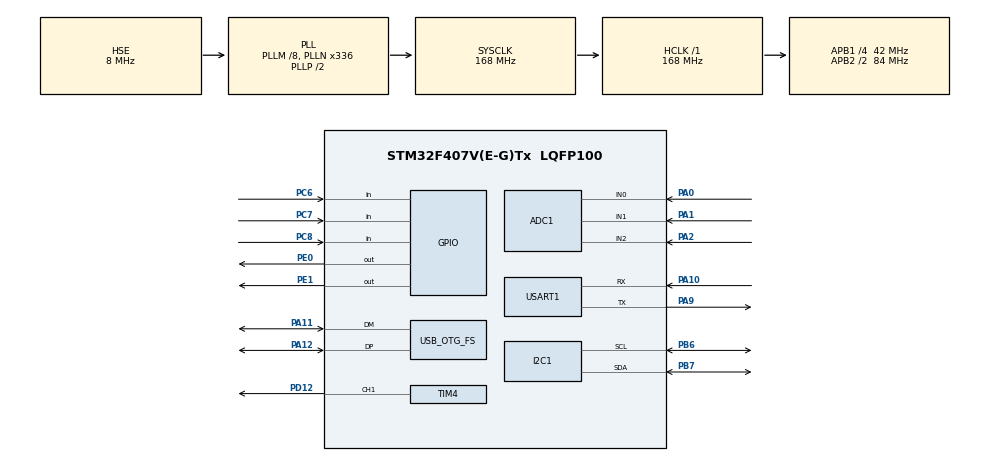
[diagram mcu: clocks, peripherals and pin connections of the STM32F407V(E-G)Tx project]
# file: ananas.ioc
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ADC1.Channel-0\#ChannelRegularConversion=ADC_CHANNEL_0
ADC1.Channel-1\#ChannelRegularConversion=ADC_CHANNEL_0
ADC1.Channel-2\#ChannelRegularConversion=ADC_CHANNEL_0
ADC1.ContinuousConvMode=ENABLE
ADC1.DMAContinuousRequests=ENABLE
ADC1.EOCSelection=ADC_EOC_SEQ_CONV
ADC1.NbrOfConversion=3
ADC1.NbrOfConversionFlag=1
ADC1.Rank-0\#ChannelRegularConversion=1
ADC1.Rank-1\#ChannelRegularConversion=2
ADC1.Rank-2\#ChannelRegularConversion=3
ADC1.SamplingTime-0\#ChannelRegularConversion=ADC_SAMPLETIME_3CYCLES
ADC1.SamplingTime-1\#ChannelRegularConversion=ADC_SAMPLETIME_3CYCLES
ADC1.SamplingTime-2\#ChannelRegularConversion=ADC_SAMPLETIME_3CYCLES
ADC1.ScanConvMode=ENABLE
ADC1.master=1
Dma.ADC1.0.Direction=DMA_PERIPH_TO_MEMORY
Dma.ADC1.0.FIFOMode=DMA_FIFOMODE_DISABLE
Dma.ADC1.0.Instance=DMA2_Stream0
Dma.ADC1.0.MemDataAlignment=DMA_MDATAALIGN_HALFWORD
Dma.ADC1.0.MemInc=DMA_MINC_ENABLE
Dma.ADC1.0.Mode=DMA_CIRCULAR
Dma.ADC1.0.PeriphDataAlignment=DMA_PDATAALIGN_HALFWORD
Dma.ADC1.0.PeriphInc=DMA_PINC_DISABLE
Dma.ADC1.0.Priority=DMA_PRIORITY_LOW
Dma.Request0=ADC1
Mcu.Family=STM32F4
Mcu.Name=STM32F407V(E-G)Tx
Mcu.Package=LQFP100
NVIC.DMA2_Stream0_IRQn=true\:0\:0\:false\:false\:true\:false\:true\:true
NVIC.I2C1_ER_IRQn=true\:0\:0\:false\:false\:true\:true\:true\:true
NVIC.I2C1_EV_IRQn=true\:0\:0\:false\:false\:true\:true\:true\:true
NVIC.PriorityGroup=NVIC_PRIORITYGROUP_4
NVIC.USART1_IRQn=true\:0\:0\:false\:false\:true\:true\:true\:true
PA0-WKUP.Signal=ADCx_IN0
PA1.Signal=ADCx_IN1
PA10.Mode=Asynchronous
PA10.Signal=USART1_RX
PA11.Mode=Device_Only
PA11.Signal=USB_OTG_FS_DM
PA12.Mode=Device_Only
PA12.Signal=USB_OTG_FS_DP
PA13.Mode=Serial_Wire
PA13.Signal=SYS_JTMS-SWDIO
PA14.Mode=Serial_Wire
PA14.Signal=SYS_JTCK-SWCLK
PA2.Signal=ADCx_IN2
PA9.Mode=Asynchronous
PA9.Signal=USART1_TX
PB3.Signal=SYS_JTDO-SWO
PB6.Mode=I2C
PB6.Signal=I2C1_SCL
PB7.Mode=I2C
PB7.Signal=I2C1_SDA
PC14-OSC32_IN.Mode=LSE-External-Oscillator
PC14-OSC32_IN.Signal=RCC_OSC32_IN
PC15-OSC32_OUT.Mode=LSE-External-Oscillator
PC15-OSC32_OUT.Signal=RCC_OSC32_OUT
PC6.Signal=GPIO_Input
PC7.Signal=GPIO_Input
PC8.Signal=GPIO_Input
PD12.Signal=S_TIM4_CH1
PE0.GPIO_Speed=GPIO_SPEED_FREQ_MEDIUM
PE0.Signal=GPIO_Output
PE1.GPIO_Speed=GPIO_SPEED_FREQ_MEDIUM
PE1.Signal=GPIO_Output
PH0-OSC_IN.Mode=HSE-External-Oscillator
PH0-OSC_IN.Signal=RCC_OSC_IN
PH1-OSC_OUT.Mode=HSE-External-Oscillator
PH1-OSC_OUT.Signal=RCC_OSC_OUT
ProjectManager.HeapSize=0x200
ProjectManager.StackSize=0x400
ProjectManager.TargetToolchain=Makefile
RCC.48MHZClocksFreq_Value=48000000
RCC.AHBFreq_Value=168000000
RCC.APB1CLKDivider=RCC_HCLK_DIV4
RCC.APB1Freq_Value=42000000
RCC.APB1TimFreq_Value=84000000
RCC.APB2CLKDivider=RCC_HCLK_DIV2
RCC.APB2Freq_Value=84000000
RCC.APB2TimFreq_Value=168000000
RCC.CortexFreq_Value=168000000
RCC.EnbaleCSS=true
RCC.HCLKFreq_Value=168000000
RCC.HSE_VALUE=8000000
RCC.HSI_VALUE=16000000
RCC.PLLM=8
RCC.PLLN=336
RCC.PLLQ=7
RCC.SYSCLKFreq_VALUE=168000000
RCC.SYSCLKSource=RCC_SYSCLKSOURCE_PLLCLK
RCC.VCOOutputFreq_Value=336000000
SH.ADCx_IN0.0=ADC1_IN0,IN0
SH.ADCx_IN1.0=ADC1_IN1,IN1
SH.ADCx_IN2.0=ADC1_IN2,IN2
SH.S_TIM4_CH1.0=TIM4_CH1,PWM Generation1 CH1
TIM4.AutoReloadPreload=TIM_AUTORELOAD_PRELOAD_ENABLE
TIM4.Channel-PWM\ Generation1\ CH1=TIM_CHANNEL_1
TIM4.Period=49
TIM4.Prescaler=83
USART1.VirtualMode=VM_ASYNC
USB_OTG_FS.VirtualMode=Device_Only
board=custom

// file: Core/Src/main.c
/* USER CODE BEGIN Header */
/**
  ******************************************************************************
  * @file           : main.c
  * @brief          : Main program body
  ******************************************************************************
  * @attention
  *
  * Copyright (c) 2025 STMicroelectronics.
  * All rights reserved.
  *
  ******************************************************************************
  */
/* USER CODE END Header */
#include "main.h"

/* USER CODE BEGIN Includes */
#include "motor_control.h"
#include "telemetry_uart.h"

/* USER CODE END Includes */

/* USER CODE BEGIN PD */
#define TELEMETRY_PERIOD_MS (50U) /* 20 Hz */

/* USER CODE END PD */

ADC_HandleTypeDef hadc1;
DMA_HandleTypeDef hdma_adc1;

I2C_HandleTypeDef hi2c1;

TIM_HandleTypeDef htim4;

UART_HandleTypeDef huart1;

PCD_HandleTypeDef hpcd_USB_OTG_FS;

/* USER CODE BEGIN PV */
static uint16_t adc_buf[3] = {0U, 0U, 0U};
static motor_control_t g_motor;
static motor_control_iface_t g_motor_iface;
static telemetry_uart_t g_telemetry;
static uint32_t g_last_telemetry_ms = 0U;

/* USER CODE END PV */

void SystemClock_Config(void);
static void MX_GPIO_Init(void);
static void MX_DMA_Init(void);
static void MX_ADC1_Init(void);
static void MX_I2C1_Init(void);
static void MX_USB_OTG_FS_PCD_Init(void);
static void MX_TIM4_Init(void);
static void MX_USART1_UART_Init(void);

int main(void)
{

  /* MCU Configuration--------------------------------------------------------*/

  /* Reset of all peripherals, Initializes the Flash interface and the Systick. */
  HAL_Init();

  /* Configure the system clock */
  SystemClock_Config();

  /* Initialize all configured peripherals */
  MX_GPIO_Init();
  MX_DMA_Init();
  MX_ADC1_Init();
  MX_I2C1_Init();
  MX_USB_OTG_FS_PCD_Init();
  MX_TIM4_Init();
  MX_USART1_UART_Init();
  /* USER CODE BEGIN 2 */
  motor_control_config_t motor_cfg = {
      .htim_pwm = &htim4,
      .tim_channel = TIM_CHANNEL_1,
      .in1_port = GPIOE,
      .in1_pin = GPIO_PIN_0,
      .in2_port = GPIOE,
      .in2_pin = GPIO_PIN_1,
      .ramp_step_pct = 5U,
      .ramp_interval_ms = 20U,
      .dir_change_delay_ms = 100U};

  if (motor_control_init(&g_motor, &motor_cfg) != HAL_OK)
  {
    Error_Handler();
  }
  g_motor_iface = motor_control_get_iface(&g_motor);

  if (telemetry_uart_init(&g_telemetry, &huart1, &g_motor_iface) != HAL_OK)
  {
    Error_Handler();
  }
  if (telemetry_uart_start(&g_telemetry) != HAL_OK)
  {
    Error_Handler();
  }

  if (HAL_ADC_Start_DMA(&hadc1, (uint32_t *)adc_buf, 3U) != HAL_OK)
  {
    Error_Handler();
  }

  g_last_telemetry_ms = HAL_GetTick();

  /* USER CODE END 2 */

  /* Infinite loop */
  while (1)
  {

    /* USER CODE BEGIN 3 */
    uint32_t now = HAL_GetTick();
    telemetry_inputs_t inputs;

    motor_control_tick(&g_motor, now);

    if ((uint32_t)(now - g_last_telemetry_ms) >= TELEMETRY_PERIOD_MS)
    {
      g_last_telemetry_ms = now;

      inputs.emg = adc_buf[0];
      inputs.fsr2 = adc_buf[1];
      inputs.fsr1 = adc_buf[2];
      inputs.hall1 = (uint8_t)HAL_GPIO_ReadPin(GPIOC, GPIO_PIN_6);
      inputs.hall2 = (uint8_t)HAL_GPIO_ReadPin(GPIOC, GPIO_PIN_7);
      inputs.hall3 = (uint8_t)HAL_GPIO_ReadPin(GPIOC, GPIO_PIN_8);

      telemetry_uart_set_inputs(&g_telemetry, &inputs);
      telemetry_uart_send_telemetry(&g_telemetry, now);
    }
  }
  /* USER CODE END 3 */
}

void SystemClock_Config(void)
{
  RCC_OscInitTypeDef RCC_OscInitStruct = {0};
  RCC_ClkInitTypeDef RCC_ClkInitStruct = {0};

  /** Configure the main internal regulator output voltage
  */
  __HAL_RCC_PWR_CLK_ENABLE();
  __HAL_PWR_VOLTAGESCALING_CONFIG(PWR_REGULATOR_VOLTAGE_SCALE1);

  /** Initializes the RCC Oscillators according to the specified parameters
  * in the RCC_OscInitTypeDef structure.
  */
  RCC_OscInitStruct.OscillatorType = RCC_OSCILLATORTYPE_HSE;
  RCC_OscInitStruct.HSEState = RCC_HSE_ON;
  RCC_OscInitStruct.PLL.PLLState = RCC_PLL_ON;
  RCC_OscInitStruct.PLL.PLLSource = RCC_PLLSOURCE_HSE;
  RCC_OscInitStruct.PLL.PLLM = 8;
  RCC_OscInitStruct.PLL.PLLN = 336;
  RCC_OscInitStruct.PLL.PLLP = RCC_PLLP_DIV2;
  RCC_OscInitStruct.PLL.PLLQ = 7;
  if (HAL_RCC_OscConfig(&RCC_OscInitStruct) != HAL_OK)
  {
    Error_Handler();
  }

  /** Initializes the CPU, AHB and APB buses clocks
  */
  RCC_ClkInitStruct.ClockType = RCC_CLOCKTYPE_HCLK|RCC_CLOCKTYPE_SYSCLK
                              |RCC_CLOCKTYPE_PCLK1|RCC_CLOCKTYPE_PCLK2;
  RCC_ClkInitStruct.SYSCLKSource = RCC_SYSCLKSOURCE_PLLCLK;
  RCC_ClkInitStruct.AHBCLKDivider = RCC_SYSCLK_DIV1;
  RCC_ClkInitStruct.APB1CLKDivider = RCC_HCLK_DIV4;
  RCC_ClkInitStruct.APB2CLKDivider = RCC_HCLK_DIV2;

  if (HAL_RCC_ClockConfig(&RCC_ClkInitStruct, FLASH_LATENCY_5) != HAL_OK)
  {
    Error_Handler();
  }

  /** Enables the Clock Security System
  */
  HAL_RCC_EnableCSS();
}

static void MX_ADC1_Init(void)
{

  ADC_ChannelConfTypeDef sConfig = {0};

  /** Configure the global features of the ADC (Clock, Resolution, Data Alignment and number of conversion)
  */
  hadc1.Instance = ADC1;
  hadc1.Init.ClockPrescaler = ADC_CLOCK_SYNC_PCLK_DIV4;
  hadc1.Init.Resolution = ADC_RESOLUTION_12B;
  hadc1.Init.ScanConvMode = ENABLE;
  hadc1.Init.ContinuousConvMode = ENABLE;
  hadc1.Init.DiscontinuousConvMode = DISABLE;
  hadc1.Init.ExternalTrigConvEdge = ADC_EXTERNALTRIGCONVEDGE_NONE;
  hadc1.Init.ExternalTrigConv = ADC_SOFTWARE_START;
  hadc1.Init.DataAlign = ADC_DATAALIGN_RIGHT;
  hadc1.Init.NbrOfConversion = 3;
  hadc1.Init.DMAContinuousRequests = ENABLE;
  hadc1.Init.EOCSelection = ADC_EOC_SEQ_CONV;
  if (HAL_ADC_Init(&hadc1) != HAL_OK)
  {
    Error_Handler();
  }

  /** Configure for the selected ADC regular channel its corresponding rank in the sequencer and its sample time.
  */
  sConfig.Channel = ADC_CHANNEL_0;
  sConfig.Rank = 1;
  sConfig.SamplingTime = ADC_SAMPLETIME_3CYCLES;
  if (HAL_ADC_ConfigChannel(&hadc1, &sConfig) != HAL_OK)
  {
    Error_Handler();
  }

  /** Configure for the selected ADC regular channel its corresponding rank in the sequencer and its sample time.
  */
  sConfig.Rank = 2;
  if (HAL_ADC_ConfigChannel(&hadc1, &sConfig) != HAL_OK)
  {
    Error_Handler();
  }

  /** Configure for the selected ADC regular channel its corresponding rank in the sequencer and its sample time.
  */
  sConfig.Rank = 3;
  if (HAL_ADC_ConfigChannel(&hadc1, &sConfig) != HAL_OK)
  {
    Error_Handler();
  }
  /* USER CODE BEGIN ADC1_Init 2 */

  /* Reconfigure sequence in USER CODE to keep CubeMX-safe fixes. */
  sConfig.Channel = ADC_CHANNEL_0;
  sConfig.Rank = 1;
  sConfig.SamplingTime = ADC_SAMPLETIME_84CYCLES;
  if (HAL_ADC_ConfigChannel(&hadc1, &sConfig) != HAL_OK)
  {
    Error_Handler();
  }

  sConfig.Channel = ADC_CHANNEL_1;
  sConfig.Rank = 2;
  if (HAL_ADC_ConfigChannel(&hadc1, &sConfig) != HAL_OK)
  {
    Error_Handler();
  }

  sConfig.Channel = ADC_CHANNEL_2;
  sConfig.Rank = 3;
  if (HAL_ADC_ConfigChannel(&hadc1, &sConfig) != HAL_OK)
  {
    Error_Handler();
  }

  /* USER CODE END ADC1_Init 2 */

}

static void MX_I2C1_Init(void)
{

  hi2c1.Instance = I2C1;
  hi2c1.Init.ClockSpeed = 100000;
  hi2c1.Init.DutyCycle = I2C_DUTYCYCLE_2;
  hi2c1.Init.OwnAddress1 = 0;
  hi2c1.Init.AddressingMode = I2C_ADDRESSINGMODE_7BIT;
  hi2c1.Init.DualAddressMode = I2C_DUALADDRESS_DISABLE;
  hi2c1.Init.OwnAddress2 = 0;
  hi2c1.Init.GeneralCallMode = I2C_GENERALCALL_DISABLE;
  hi2c1.Init.NoStretchMode = I2C_NOSTRETCH_DISABLE;
  if (HAL_I2C_Init(&hi2c1) != HAL_OK)
  {
    Error_Handler();
  }

}

static void MX_TIM4_Init(void)
{

  TIM_MasterConfigTypeDef sMasterConfig = {0};
  TIM_OC_InitTypeDef sConfigOC = {0};

  htim4.Instance = TIM4;
  htim4.Init.Prescaler = 83;
  htim4.Init.CounterMode = TIM_COUNTERMODE_UP;
  htim4.Init.Period = 49;
  htim4.Init.ClockDivision = TIM_CLOCKDIVISION_DIV1;
  htim4.Init.AutoReloadPreload = TIM_AUTORELOAD_PRELOAD_ENABLE;
  if (HAL_TIM_PWM_Init(&htim4) != HAL_OK)
  {
    Error_Handler();
  }
  sMasterConfig.MasterOutputTrigger = TIM_TRGO_RESET;
  sMasterConfig.MasterSlaveMode = TIM_MASTERSLAVEMODE_DISABLE;
  if (HAL_TIMEx_MasterConfigSynchronization(&htim4, &sMasterConfig) != HAL_OK)
  {
    Error_Handler();
  }
  sConfigOC.OCMode = TIM_OCMODE_PWM1;
  sConfigOC.Pulse = 0;
  sConfigOC.OCPolarity = TIM_OCPOLARITY_HIGH;
  sConfigOC.OCFastMode = TIM_OCFAST_DISABLE;
  if (HAL_TIM_PWM_ConfigChannel(&htim4, &sConfigOC, TIM_CHANNEL_1) != HAL_OK)
  {
    Error_Handler();
  }
  HAL_TIM_MspPostInit(&htim4);

}

static void MX_USART1_UART_Init(void)
{

  huart1.Instance = USART1;
  huart1.Init.BaudRate = 115200;
  huart1.Init.WordLength = UART_WORDLENGTH_8B;
  huart1.Init.StopBits = UART_STOPBITS_1;
  huart1.Init.Parity = UART_PARITY_NONE;
  huart1.Init.Mode = UART_MODE_TX_RX;
  huart1.Init.HwFlowCtl = UART_HWCONTROL_NONE;
  huart1.Init.OverSampling = UART_OVERSAMPLING_16;
  if (HAL_UART_Init(&huart1) != HAL_OK)
  {
    Error_Handler();
  }

}

static void MX_USB_OTG_FS_PCD_Init(void)
{

  hpcd_USB_OTG_FS.Instance = USB_OTG_FS;
  hpcd_USB_OTG_FS.Init.dev_endpoints = 4;
  hpcd_USB_OTG_FS.Init.speed = PCD_SPEED_FULL;
  hpcd_USB_OTG_FS.Init.dma_enable = DISABLE;
  hpcd_USB_OTG_FS.Init.phy_itface = PCD_PHY_EMBEDDED;
  hpcd_USB_OTG_FS.Init.Sof_enable = DISABLE;
  hpcd_USB_OTG_FS.Init.low_power_enable = DISABLE;
  hpcd_USB_OTG_FS.Init.lpm_enable = DISABLE;
  hpcd_USB_OTG_FS.Init.vbus_sensing_enable = DISABLE;
  hpcd_USB_OTG_FS.Init.use_dedicated_ep1 = DISABLE;
  if (HAL_PCD_Init(&hpcd_USB_OTG_FS) != HAL_OK)
  {
    Error_Handler();
  }

}

static void MX_DMA_Init(void)
{

  /* DMA controller clock enable */
  __HAL_RCC_DMA2_CLK_ENABLE();

  /* DMA interrupt init */
  /* DMA2_Stream0_IRQn interrupt configuration */
  HAL_NVIC_SetPriority(DMA2_Stream0_IRQn, 0, 0);
  HAL_NVIC_EnableIRQ(DMA2_Stream0_IRQn);

}

static void MX_GPIO_Init(void)
{
  GPIO_InitTypeDef GPIO_InitStruct = {0};

  /* GPIO Ports Clock Enable */
  __HAL_RCC_GPIOC_CLK_ENABLE();
  __HAL_RCC_GPIOH_CLK_ENABLE();
  __HAL_RCC_GPIOA_CLK_ENABLE();
  __HAL_RCC_GPIOD_CLK_ENABLE();
  __HAL_RCC_GPIOB_CLK_ENABLE();
  __HAL_RCC_GPIOE_CLK_ENABLE();

  /*Configure GPIO pin Output Level */
  HAL_GPIO_WritePin(GPIOE, GPIO_PIN_0|GPIO_PIN_1, GPIO_PIN_RESET);

  /*Configure GPIO pins : PC6 PC7 PC8 */
  GPIO_InitStruct.Pin = GPIO_PIN_6|GPIO_PIN_7|GPIO_PIN_8;
  GPIO_InitStruct.Mode = GPIO_MODE_INPUT;
  GPIO_InitStruct.Pull = GPIO_NOPULL;
  HAL_GPIO_Init(GPIOC, &GPIO_InitStruct);

  /*Configure GPIO pins : PE0 PE1 */
  GPIO_InitStruct.Pin = GPIO_PIN_0|GPIO_PIN_1;
  GPIO_InitStruct.Mode = GPIO_MODE_OUTPUT_PP;
  GPIO_InitStruct.Pull = GPIO_NOPULL;
  GPIO_InitStruct.Speed = GPIO_SPEED_FREQ_MEDIUM;
  HAL_GPIO_Init(GPIOE, &GPIO_InitStruct);

}

/* USER CODE BEGIN 4 */
void HAL_UART_RxCpltCallback(UART_HandleTypeDef *huart)
{
  telemetry_uart_handle_rx_irq(&g_telemetry, huart);
}

void HAL_UART_TxCpltCallback(UART_HandleTypeDef *huart)
{
  telemetry_uart_handle_tx_irq(&g_telemetry, huart);
}

void HAL_UART_ErrorCallback(UART_HandleTypeDef *huart)
{
  telemetry_uart_handle_error_irq(&g_telemetry, huart);
}

/* USER CODE END 4 */

void Error_Handler(void)
{
  __disable_irq();
  while (1)
  {
  }
}
